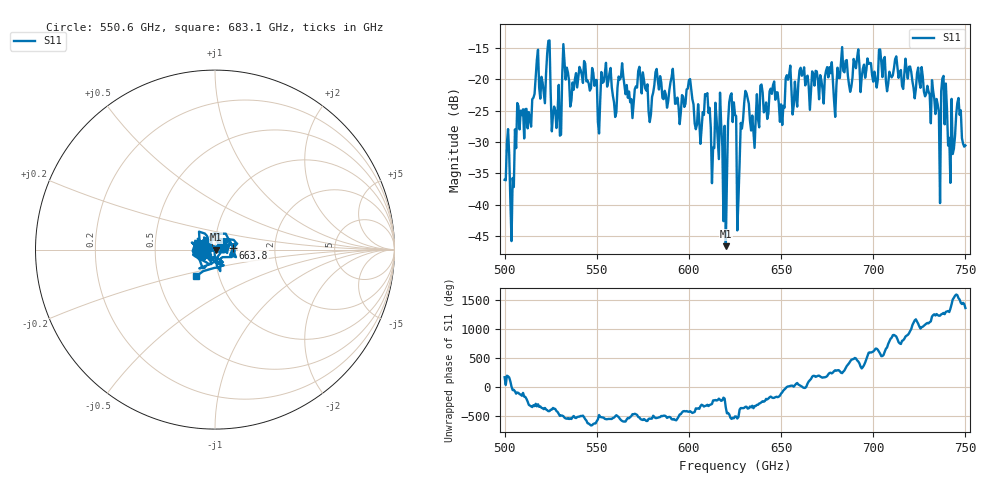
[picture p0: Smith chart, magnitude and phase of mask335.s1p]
!Created with skrf (http://scikit-rf.org).
# GHz S MA R 50.0
!freq magS11 angS11
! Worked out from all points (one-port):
!   401 points, 500 GHz to 750 GHz, reference 50 ohm
!   lowest |S11| = -46.6 dB at 620 GHz (marker M1), VSWR 1.01, Z = 50.5 + j0.0378 ohm
!   |S11| at or under -10 dB: start of sweep to end of sweep
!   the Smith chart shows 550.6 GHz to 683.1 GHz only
!   S11 on the Smith chart (normalised r, x): 550.6 GHz: 0.92, +0.03; 663.8 GHz: 1.23, +0.02; 683.1 GHz: 0.78, -0.24
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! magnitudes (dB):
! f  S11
! 500 GHz  -36.0
! 503.8 GHz  -45.8
! 506.9 GHz  -23.8
! 517.5 GHz  -16.9
! 523.8 GHz  -13.9
! 526.9 GHz  -24.4
! 531.2 GHz  -19.4
! 542.5 GHz  -20.6
! 550.6 GHz  -26.8
! 562.5 GHz  -20.1
! 593.8 GHz  -22.9
! 610 GHz  -22.2
! 620 GHz  -46.6
! 622.5 GHz  -22.6
! 625 GHz  -25.7
! 627.5 GHz  -33.4
! 631.2 GHz  -22.2
! 634.4 GHz  -25.8
! 656.2 GHz  -25.6
! 663.8 GHz  -19.8
! 683.1 GHz  -14.9
! 687.5 GHz  -22.0
! 718.8 GHz  -19.9
! 735 GHz  -24.1
! 738.1 GHz  -19.5
! 741.9 GHz  -36.5
! 746.2 GHz  -23.0
! 750 GHz  -30.6
